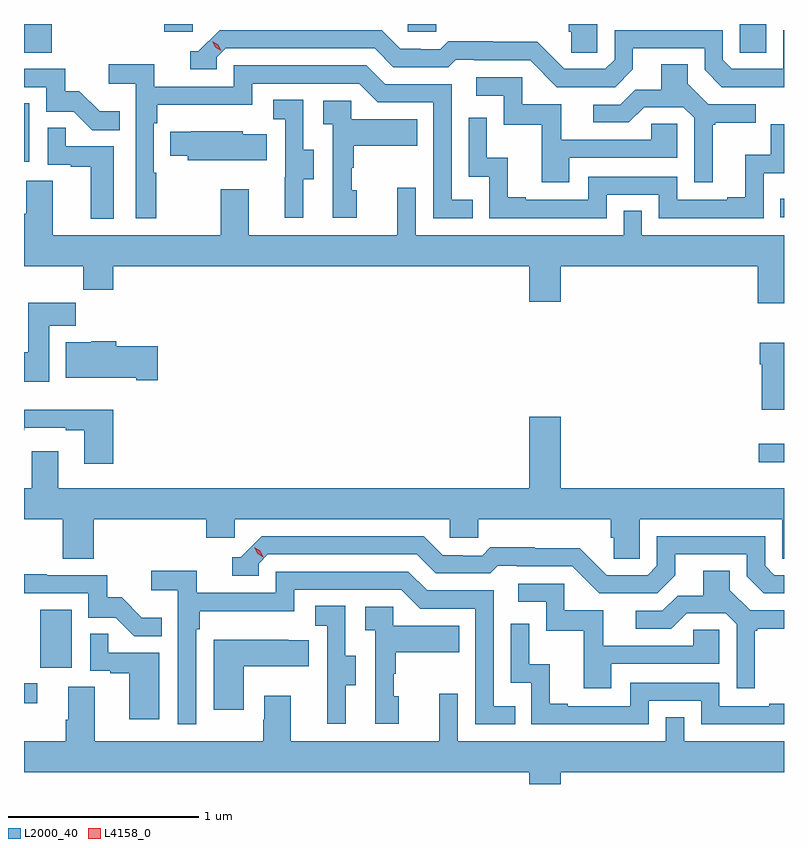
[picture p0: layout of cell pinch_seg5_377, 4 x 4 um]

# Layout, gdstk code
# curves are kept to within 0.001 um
import gdstk
lib = gdstk.Library(unit=1e-6, precision=1e-09)
def R(c, l, rs):  # rectangles x0, y0, x1, y1
    for r in rs: c.add(gdstk.rectangle(r[:2], r[2:], *l))
def P(c, l, *ps):  # polygons
    for p in ps: c.add(gdstk.Polygon(p, *l))
L2000_40 = (2000, 40)
L4158_0 = (4158, 0)

pinch_seg5_377 = lib.new_cell('pinch_seg5_377')
R(pinch_seg5_377, L2000_40, [(1001.508,875.772,1001.578,875.877), (1001.594,875.958,1001.758,876.265), (1005.375,877.04,1005.508,877.137), (1005.487,878.331,1005.508,878.428), (1001.508,878.622,1001.536,878.929), (1001.508,879.196,1001.654,879.347), (1005.276,879.196,1005.415,879.347), (1002.245,879.306,1002.396,879.347), (1003.527,879.306,1003.677,879.347)])
P(pinch_seg5_377, L2000_40, [(1004.526,879.347),(1004.375,879.347),(1004.375,879.306),(1004.389,879.306),(1004.389,879.196),(1004.526,879.196)],
  [(1005.508,879.315),(1005.504,879.315),(1005.504,879.111),(1005.234,879.111),(1005.186,879.159),(1005.186,879.315),(1004.616,879.315),(1004.616,879.159),(1004.568,879.111),(1004.352,879.111),(1004.21,879.253),(1003.974,879.253),(1003.974,879.256),(1003.741,879.256),(1003.699,879.213),(1003.596,879.213),(1003.596,879.216),(1003.489,879.216),(1003.39,879.315),(1002.537,879.315),(1002.426,879.204),(1002.383,879.204),(1002.383,879.108),(1002.522,879.108),(1002.522,879.171),(1002.57,879.219),(1003.353,879.219),(1003.452,879.12),(1003.741,879.12),(1003.78,879.159),(1003.879,879.159),(1003.879,879.156),(1004.172,879.156),(1004.313,879.015),(1004.619,879.015),(1004.713,879.109),(1004.713,879.219),(1005.09,879.219),(1005.09,879.105),(1005.18,879.015),(1005.508,879.014)],
  [(1002.205,878.564),(1002.192,878.564),(1002.192,878.825),(1002.209,878.825),(1002.209,878.921),(1002.708,878.921),(1002.708,879.033),(1003.272,879.033),(1003.371,878.934),(1003.662,878.934),(1003.662,878.325),(1003.871,878.325),(1003.871,878.421),(1003.758,878.421),(1003.758,879.03),(1003.408,879.03),(1003.309,879.129),(1002.612,879.129),(1002.612,879.018),(1002.194,879.018),(1002.194,879.134),(1001.955,879.134),(1001.955,879.032),(1002.096,879.032),(1002.096,878.325),(1002.205,878.325)],
  [(1005.133,878.817),(1005.145,878.817),(1005.145,878.828),(1005.358,878.828),(1005.358,878.925),(1005.108,878.925),(1005.001,879.032),(1005.001,879.134),(1004.861,879.134),(1004.861,879.002),(1004.726,879.002),(1004.646,878.922),(1004.505,878.922),(1004.505,878.829),(1004.692,878.829),(1004.773,878.91),(1004.979,878.91),(1005.036,878.853),(1005.036,878.514),(1005.133,878.514)],
  [(1002.011,878.887),(1001.907,878.887),(1001.8,878.994),(1001.724,878.994),(1001.724,879.111),(1001.508,879.111),(1001.508,879.015),(1001.625,879.015),(1001.625,878.886),(1001.77,878.886),(1001.868,878.788),(1002.011,878.788)],
  [(1004.377,878.643),(1004.946,878.643),(1004.946,878.823),(1004.809,878.823),(1004.809,878.739),(1004.335,878.739),(1004.335,878.925),(1004.13,878.925),(1004.13,879.066),(1003.887,879.066),(1003.887,878.97),(1004.034,878.97),(1004.034,878.817),(1004.233,878.817),(1004.233,878.514),(1004.377,878.514)],
  [(1002.979,878.53),(1003.033,878.53),(1003.033,878.685),(1002.978,878.685),(1002.978,878.948),(1002.819,878.948),(1002.819,878.845),(1002.882,878.845),(1002.882,878.541),(1002.881,878.541),(1002.881,878.328),(1002.979,878.328)],
  [(1003.258,878.472),(1003.233,878.472),(1003.233,878.591),(1003.243,878.591),(1003.243,878.705),(1003.577,878.705),(1003.577,878.845),(1003.23,878.845),(1003.23,878.943),(1003.083,878.943),(1003.083,878.819),(1003.134,878.819),(1003.134,878.328),(1003.258,878.328)],
  [(1004.574,878.448),(1004.85,878.448),(1004.85,878.325),(1005.402,878.325),(1005.402,878.561),(1005.508,878.561),(1005.508,878.82),(1005.438,878.82),(1005.438,878.659),(1005.305,878.659),(1005.305,878.434),(1005.209,878.434),(1005.209,878.421),(1004.946,878.421),(1004.946,878.544),(1004.478,878.544),(1004.478,878.421),(1004.149,878.421),(1004.149,878.434),(1004.054,878.434),(1004.054,878.642),(1003.944,878.642),(1003.944,878.854),(1003.848,878.854),(1003.848,878.544),(1003.956,878.544),(1003.956,878.325),(1004.574,878.325)],
  [(1001.98,878.703),(1001.729,878.703),(1001.729,878.801),(1001.634,878.801),(1001.634,878.607),(1001.755,878.607),(1001.755,878.595),(1001.858,878.595),(1001.858,878.321),(1001.98,878.321)],
  [(1002.785,878.767),(1002.66,878.767),(1002.66,878.782),(1002.388,878.782),(1002.388,878.781),(1002.277,878.781),(1002.277,878.653),(1002.371,878.653),(1002.371,878.63),(1002.785,878.63)],
  [(1005.508,878.236),(1004.76,878.236),(1004.76,878.363),(1004.664,878.363),(1004.664,878.236),(1003.569,878.236),(1003.569,878.485),(1003.472,878.485),(1003.472,878.236),(1002.691,878.236),(1002.691,878.476),(1002.544,878.476),(1002.544,878.236),(1001.659,878.236),(1001.659,878.522),(1001.519,878.522),(1001.519,878.348),(1001.508,878.348),(1001.508,878.072),(1001.821,878.072),(1001.821,877.948),(1001.978,877.948),(1001.978,878.072),(1004.168,878.072),(1004.168,877.884),(1004.332,877.884),(1004.332,878.072),(1005.371,878.072),(1005.371,877.878),(1005.508,877.878)],
  [(1001.641,877.76),(1001.78,877.76),(1001.78,877.879),(1001.531,877.879),(1001.531,877.62),(1001.508,877.62),(1001.508,877.464),(1001.641,877.464)],
  [(1002.211,877.65),(1001.993,877.65),(1001.993,877.678),(1001.862,877.678),(1001.862,877.672),(1001.729,877.672),(1001.729,877.484),(1002.098,877.484),(1002.098,877.472),(1002.211,877.472)],
  [(1005.508,877.669),(1005.38,877.669),(1005.38,877.556),(1005.392,877.556),(1005.392,877.316),(1005.508,877.316)],
  [(1001.978,877.318),(1001.508,877.318),(1001.508,877.209),(1001.509,877.209),(1001.509,877.221),(1001.729,877.221),(1001.729,877.209),(1001.825,877.209),(1001.825,877.032),(1001.978,877.032)],
  [(1001.876,876.74),(1002.467,876.74),(1002.467,876.642),(1002.618,876.642),(1002.618,876.74),(1003.749,876.74),(1003.749,876.642),(1003.899,876.642),(1003.899,876.74),(1004.597,876.74),(1004.597,876.642),(1004.611,876.642),(1004.611,876.532),(1004.748,876.532),(1004.748,876.74),(1005.498,876.74),(1005.498,876.532),(1005.508,876.532),(1005.508,876.904),(1004.332,876.904),(1004.332,877.279),(1004.168,877.279),(1004.168,876.904),(1001.689,876.904),(1001.689,877.099),(1001.549,877.099),(1001.549,876.904),(1001.508,876.904),(1001.508,876.74),(1001.711,876.74),(1001.711,876.532),(1001.876,876.532)],
  [(1004.935,876.445),(1004.935,876.555),(1005.312,876.555),(1005.312,876.441),(1005.402,876.351),(1005.508,876.351),(1005.508,876.447),(1005.456,876.447),(1005.408,876.495),(1005.408,876.651),(1004.838,876.651),(1004.838,876.495),(1004.79,876.447),(1004.574,876.447),(1004.432,876.589),(1004.196,876.589),(1004.196,876.592),(1003.963,876.592),(1003.921,876.549),(1003.818,876.549),(1003.818,876.552),(1003.711,876.552),(1003.612,876.651),(1002.759,876.651),(1002.648,876.54),(1002.605,876.54),(1002.605,876.444),(1002.744,876.444),(1002.744,876.507),(1002.792,876.555),(1003.575,876.555),(1003.674,876.456),(1003.963,876.456),(1004.002,876.495),(1004.101,876.495),(1004.101,876.492),(1004.394,876.492),(1004.535,876.351),(1004.841,876.351)],
  [(1005.355,876.153),(1005.367,876.153),(1005.367,876.164),(1005.508,876.164),(1005.508,876.261),(1005.33,876.261),(1005.223,876.368),(1005.223,876.47),(1005.083,876.47),(1005.083,876.338),(1004.948,876.338),(1004.868,876.258),(1004.727,876.258),(1004.727,876.165),(1004.914,876.165),(1004.995,876.246),(1005.201,876.246),(1005.258,876.189),(1005.258,875.85),(1005.355,875.85)],
  [(1002.414,876.161),(1002.434,876.161),(1002.434,876.257),(1002.93,876.257),(1002.93,876.369),(1003.494,876.369),(1003.593,876.27),(1003.884,876.27),(1003.884,875.661),(1004.093,875.661),(1004.093,875.757),(1003.98,875.757),(1003.98,876.366),(1003.63,876.366),(1003.531,876.465),(1002.834,876.465),(1002.834,876.354),(1002.416,876.354),(1002.416,876.47),(1002.177,876.47),(1002.177,876.368),(1002.318,876.368),(1002.318,875.661),(1002.414,875.661)],
  [(1002.233,876.223),(1002.129,876.223),(1002.022,876.33),(1001.946,876.33),(1001.946,876.447),(1001.627,876.447),(1001.627,876.452),(1001.508,876.452),(1001.508,876.351),(1001.847,876.351),(1001.847,876.222),(1001.991,876.222),(1002.089,876.124),(1002.233,876.124)],
  [(1004.599,875.979),(1005.168,875.979),(1005.168,876.159),(1005.031,876.159),(1005.031,876.075),(1004.557,876.075),(1004.557,876.261),(1004.352,876.261),(1004.352,876.402),(1004.109,876.402),(1004.109,876.306),(1004.256,876.306),(1004.256,876.153),(1004.455,876.153),(1004.455,875.85),(1004.599,875.85)],
  [(1003.201,875.866),(1003.255,875.866),(1003.255,876.021),(1003.2,876.021),(1003.2,876.284),(1003.041,876.284),(1003.041,876.181),(1003.104,876.181),(1003.104,875.877),(1003.103,875.877),(1003.103,875.664),(1003.201,875.664)],
  [(1003.48,875.808),(1003.455,875.808),(1003.455,875.927),(1003.465,875.927),(1003.465,876.041),(1003.799,876.041),(1003.799,876.181),(1003.452,876.181),(1003.452,876.279),(1003.305,876.279),(1003.305,876.155),(1003.356,876.155),(1003.356,875.664),(1003.48,875.664)],
  [(1004.796,875.784),(1005.072,875.784),(1005.072,875.661),(1005.508,875.661),(1005.508,875.77),(1005.431,875.77),(1005.431,875.757),(1005.168,875.757),(1005.168,875.88),(1004.7,875.88),(1004.7,875.757),(1004.371,875.757),(1004.371,875.77),(1004.276,875.77),(1004.276,875.978),(1004.166,875.978),(1004.166,876.19),(1004.07,876.19),(1004.07,875.88),(1004.178,875.88),(1004.178,875.661),(1004.796,875.661)],
  [(1002.22,876.039),(1001.951,876.039),(1001.951,876.137),(1001.856,876.137),(1001.856,875.943),(1001.963,875.943),(1001.963,875.931),(1002.062,875.931),(1002.062,875.688),(1002.22,875.688)],
  [(1002.664,875.966),(1003.007,875.966),(1003.007,876.103),(1002.899,876.103),(1002.899,876.106),(1002.506,876.106),(1002.506,875.739),(1002.664,875.739)],
  [(1004.332,875.408),(1005.508,875.408),(1005.508,875.572),(1004.982,875.572),(1004.982,875.699),(1004.886,875.699),(1004.886,875.572),(1003.791,875.572),(1003.791,875.821),(1003.694,875.821),(1003.694,875.572),(1002.913,875.572),(1002.913,875.812),(1002.773,875.812),(1002.773,875.684),(1002.766,875.684),(1002.766,875.572),(1001.881,875.572),(1001.881,875.858),(1001.741,875.858),(1001.741,875.684),(1001.729,875.684),(1001.729,875.572),(1001.508,875.572),(1001.508,875.408),(1004.168,875.408),(1004.168,875.347),(1004.332,875.347)])
P(pinch_seg5_377, L4158_0, [(1002.546,879.206),(1002.515,879.225),(1002.499,879.257),(1002.499,879.257),(1002.499,879.257),(1002.53,879.238),(1002.547,879.206),(1002.547,879.206)],
  [(1002.768,876.541),(1002.737,876.56),(1002.721,876.593),(1002.721,876.593),(1002.721,876.593),(1002.752,876.574),(1002.768,876.541),(1002.768,876.541)])

lib.write_gds('pinch_seg5_377.gds')
